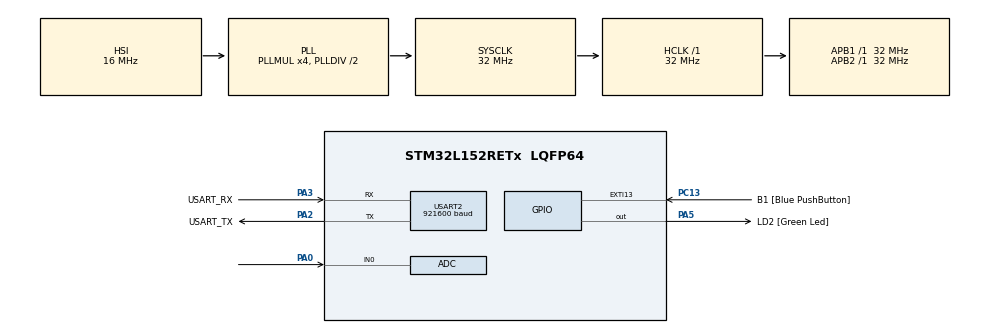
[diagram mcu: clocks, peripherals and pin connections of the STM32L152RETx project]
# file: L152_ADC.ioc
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ADC.ClockPrescaler=ADC_CLOCK_ASYNC_DIV1
ADC.ContinuousConvMode=DISABLE
ADC.DMAContinuousRequests=ENABLE
ADC.EOCSelection=ADC_EOC_SINGLE_CONV
ADC.ExternalTrigConv=ADC_EXTERNALTRIGCONV_T9_TRGO
ADC.ExternalTrigConvEdge=ADC_EXTERNALTRIGCONVEDGE_RISINGFALLING
ADC.NbrOfConversion=1
ADC.NbrOfConversionFlag=1
Dma.ADC.0.Direction=DMA_PERIPH_TO_MEMORY
Dma.ADC.0.Instance=DMA1_Channel1
Dma.ADC.0.MemDataAlignment=DMA_MDATAALIGN_HALFWORD
Dma.ADC.0.MemInc=DMA_MINC_ENABLE
Dma.ADC.0.Mode=DMA_CIRCULAR
Dma.ADC.0.PeriphDataAlignment=DMA_PDATAALIGN_HALFWORD
Dma.ADC.0.PeriphInc=DMA_PINC_DISABLE
Dma.ADC.0.Priority=DMA_PRIORITY_LOW
Dma.Request0=ADC
Mcu.Family=STM32L1
Mcu.Name=STM32L152RETx
Mcu.Package=LQFP64
NVIC.DMA1_Channel1_IRQn=true\:0\:0\:false\:false\:true\:false\:true\:true
NVIC.PriorityGroup=NVIC_PRIORITYGROUP_0
NVIC.TIM9_IRQn=true\:0\:0\:false\:false\:true\:true\:true\:true
PA0-WKUP1.Mode=IN0
PA0-WKUP1.Signal=ADC_IN0
PA13.GPIO_Label=TMS
PA13.Mode=Serial_Wire
PA13.Signal=SYS_JTMS-SWDIO
PA14.GPIO_Label=TCK
PA14.Mode=Serial_Wire
PA14.Signal=SYS_JTCK-SWCLK
PA2.GPIO_Label=USART_TX
PA2.Mode=Asynchronous
PA2.Signal=USART2_TX
PA3.GPIO_Label=USART_RX
PA3.Mode=Asynchronous
PA3.Signal=USART2_RX
PA5.GPIO_Label=LD2 [Green Led]
PA5.Signal=GPIO_Output
PB3.GPIO_Label=SWO
PB3.Signal=SYS_JTDO-TRACESWO
PC13-WKUP2.GPIO_Label=B1 [Blue PushButton]
PC13-WKUP2.Signal=GPXTI13
PC14-OSC32_IN.Mode=LSE-External-Oscillator
PC14-OSC32_IN.Signal=RCC_OSC32_IN
PC15-OSC32_OUT.Mode=LSE-External-Oscillator
PC15-OSC32_OUT.Signal=RCC_OSC32_OUT
PH0-OSC_IN.Mode=HSE-External-Clock-Source
PH0-OSC_IN.Signal=RCC_OSC_IN
PH1-OSC_OUT.Signal=RCC_OSC_OUT
ProjectManager.HeapSize=0x200
ProjectManager.StackSize=0x400
ProjectManager.TargetToolchain=STM32CubeIDE
RCC.48MHZClocksFreq_Value=32000000
RCC.AHBFreq_Value=32000000
RCC.APB1Freq_Value=32000000
RCC.APB1TimFreq_Value=32000000
RCC.APB2Freq_Value=32000000
RCC.APB2TimFreq_Value=32000000
RCC.HCLKFreq_Value=32000000
RCC.HSE_VALUE=8000000
RCC.HSI_VALUE=16000000
RCC.MSI_VALUE=2097000
RCC.PLLMUL=RCC_PLL_MUL4
RCC.RTCClockSelectionVirtual=RCC_RTCCLKSOURCE_LSE
RCC.SYSCLKFreq_VALUE=32000000
RCC.SYSCLKSource=RCC_SYSCLKSOURCE_PLLCLK
RCC.USBOutput=48000000
RCC.VCOOutputFreq_Value=64000000
TIM9.AutoReloadPreload=TIM_AUTORELOAD_PRELOAD_DISABLE
TIM9.Period=7
TIM9.Prescaler=159
TIM9.TIM_MasterOutputTrigger=TIM_TRGO_UPDATE
TIM9.TIM_MasterSlaveMode=TIM_MASTERSLAVEMODE_DISABLE
USART2.BaudRate=921600
USART2.VirtualMode=VM_ASYNC
VP_TIM9_VS_ClockSourceINT.Mode=Internal
board=NUCLEO-L152RE

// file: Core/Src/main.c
/* USER CODE BEGIN Header */
/**
 ******************************************************************************
 * @file           : main.c
 * @brief          : Main program body
 ******************************************************************************
 * @attention
 *
 * Copyright (c) 2024 STMicroelectronics.
 * All rights reserved.
 *
 * This software is licensed under terms that can be found in the LICENSE file
 * in the root directory of this software component.
 * If no LICENSE file comes with this software, it is provided AS-IS.
 *
 ******************************************************************************
 */
/* USER CODE END Header */
#include "main.h"
#include "adc.h"
#include "dma.h"
#include "tim.h"
#include "usart.h"
#include "gpio.h"

/* USER CODE BEGIN Includes */
#include <stdio.h>
/* USER CODE END Includes */

/* USER CODE BEGIN PD */
#define ADC_BUFF_SIZE 10
/* USER CODE END PD */

/* USER CODE BEGIN PV */
float adc_value;
uint16_t adc_buffer[ADC_BUFF_SIZE];
/* USER CODE END PV */

void SystemClock_Config(void);

/* USER CODE BEGIN 0 */
void HAL_ADC_ConvCpltCallback(ADC_HandleTypeDef *_hadc) {

  uint32_t adc_sum = 0;
  uint8_t i;
  for( i = 0; i < ADC_BUFF_SIZE; i++ )
    adc_sum += adc_buffer[i];

  adc_value = adc_sum * 3.3f / 4095.0f / ADC_BUFF_SIZE;

  HAL_GPIO_TogglePin(LD2_GPIO_Port, LD2_Pin);
}

void HAL_TIM_PeriodElapsedCallback(TIM_HandleTypeDef * htim) {

}
/* USER CODE END 0 */

int main(void)
{

  /* MCU Configuration--------------------------------------------------------*/

  /* Reset of all peripherals, Initializes the Flash interface and the Systick. */
  HAL_Init();

  /* Configure the system clock */
  SystemClock_Config();

  /* Initialize all configured peripherals */
  MX_GPIO_Init();
  MX_DMA_Init();
  MX_USART2_UART_Init();
  MX_ADC_Init();
  MX_TIM9_Init();
  /* USER CODE BEGIN 2 */
  HAL_TIM_Base_Start(&htim9);
  HAL_UART_Transmit(&huart2, (uint8_t*) "STARTED\r\n", 9, HAL_MAX_DELAY);
  HAL_ADC_Start_DMA(&hadc, (uint32_t*) adc_buffer, ADC_BUFF_SIZE);
  /* USER CODE END 2 */

  /* Infinite loop */
  /* USER CODE BEGIN WHILE */
  uint32_t uart_delay = HAL_GetTick();
  uint32_t line_counter = 0;
  while (1) {
    if (HAL_GetTick() - uart_delay > 100) {

      uint8_t data[255];
      uint8_t len = sprintf((char*) data, "{%ld} {ADC:%f}\r\n",
          line_counter++, adc_value);
      HAL_UART_Transmit(&huart2, data, len, HAL_MAX_DELAY);

      uart_delay = HAL_GetTick();
    }

    /* USER CODE END WHILE */

  }
}

void SystemClock_Config(void)
{
  RCC_OscInitTypeDef RCC_OscInitStruct = {0};
  RCC_ClkInitTypeDef RCC_ClkInitStruct = {0};

  /** Configure the main internal regulator output voltage
  */
  __HAL_PWR_VOLTAGESCALING_CONFIG(PWR_REGULATOR_VOLTAGE_SCALE1);

  /** Initializes the RCC Oscillators according to the specified parameters
  * in the RCC_OscInitTypeDef structure.
  */
  RCC_OscInitStruct.OscillatorType = RCC_OSCILLATORTYPE_HSI;
  RCC_OscInitStruct.HSIState = RCC_HSI_ON;
  RCC_OscInitStruct.HSICalibrationValue = RCC_HSICALIBRATION_DEFAULT;
  RCC_OscInitStruct.PLL.PLLState = RCC_PLL_ON;
  RCC_OscInitStruct.PLL.PLLSource = RCC_PLLSOURCE_HSI;
  RCC_OscInitStruct.PLL.PLLMUL = RCC_PLL_MUL4;
  RCC_OscInitStruct.PLL.PLLDIV = RCC_PLL_DIV2;
  if (HAL_RCC_OscConfig(&RCC_OscInitStruct) != HAL_OK)
  {
    Error_Handler();
  }

  /** Initializes the CPU, AHB and APB buses clocks
  */
  RCC_ClkInitStruct.ClockType = RCC_CLOCKTYPE_HCLK|RCC_CLOCKTYPE_SYSCLK
                              |RCC_CLOCKTYPE_PCLK1|RCC_CLOCKTYPE_PCLK2;
  RCC_ClkInitStruct.SYSCLKSource = RCC_SYSCLKSOURCE_PLLCLK;
  RCC_ClkInitStruct.AHBCLKDivider = RCC_SYSCLK_DIV1;
  RCC_ClkInitStruct.APB1CLKDivider = RCC_HCLK_DIV1;
  RCC_ClkInitStruct.APB2CLKDivider = RCC_HCLK_DIV1;

  if (HAL_RCC_ClockConfig(&RCC_ClkInitStruct, FLASH_LATENCY_1) != HAL_OK)
  {
    Error_Handler();
  }
}

void Error_Handler(void)
{
  __disable_irq();
  while (1) {
  }
}
